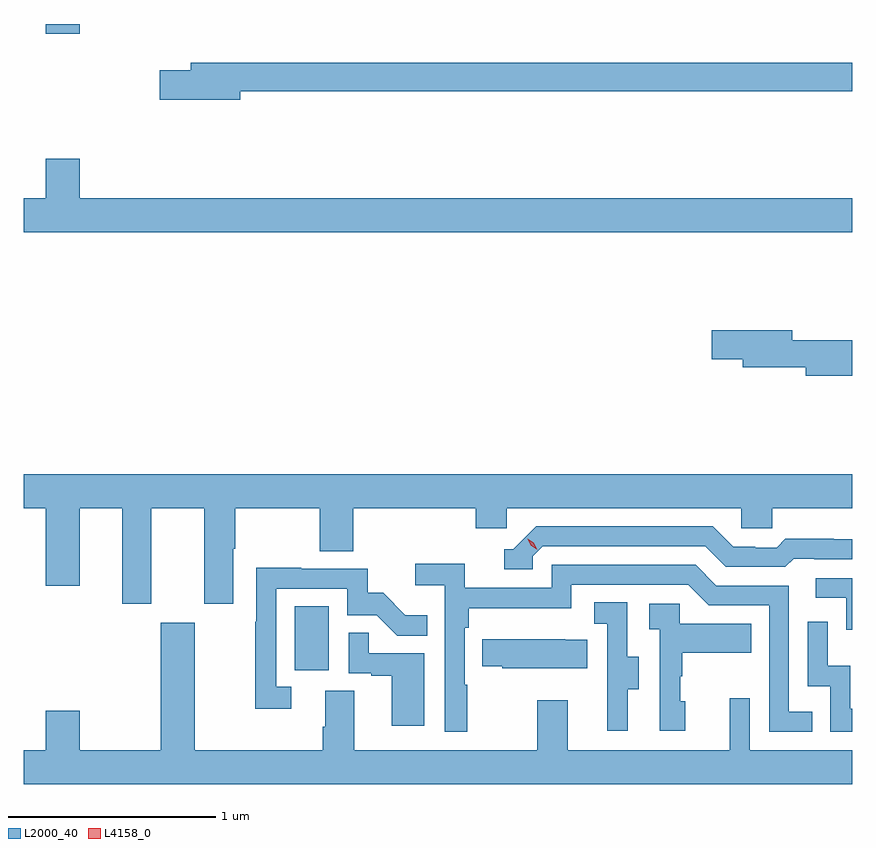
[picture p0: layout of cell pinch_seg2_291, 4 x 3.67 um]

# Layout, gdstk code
import gdstk
lib = gdstk.Library(unit=1e-6, precision=1e-09)
def R(c, l, rs):  # rectangles x0, y0, x1, y1
    for r in rs: c.add(gdstk.rectangle(r[:2], r[2:], *l))
def P(c, l, *ps):  # polygons
    for p in ps: c.add(gdstk.Polygon(p, *l))
L2000_40 = (2000, 40)
L4158_0 = (4158, 0)

pinch_seg2_291 = lib.new_cell('pinch_seg2_291')
R(pinch_seg2_291, L2000_40, [(921.452,636.198,921.616,636.505), (920.252,639.27,920.416,639.316)])
P(pinch_seg2_291, L2000_40, [(921.19,638.992),(924.144,638.992),(924.144,639.128),(920.951,639.128),(920.951,639.092),(920.802,639.092),(920.802,638.95),(921.19,638.95)],
  [(924.144,638.476),(920.416,638.476),(920.416,638.665),(920.252,638.665),(920.252,638.476),(920.144,638.476),(920.144,638.312),(924.144,638.312)],
  [(924.144,637.79),(923.854,637.79),(923.854,637.839),(923.466,637.839),(923.466,637.697),(923.615,637.697),(923.615,637.66),(923.918,637.66),(923.918,637.618),(924.144,637.618)],
  [(920.761,636.98),(921.017,636.98),(921.017,636.519),(921.157,636.519),(921.157,636.784),(921.165,636.784),(921.165,636.98),(921.574,636.98),(921.574,636.772),(921.734,636.772),(921.734,636.98),(922.325,636.98),(922.325,636.882),(922.476,636.882),(922.476,636.98),(923.607,636.98),(923.607,636.882),(923.757,636.882),(923.757,636.98),(924.144,636.98),(924.144,637.144),(920.144,637.144),(920.144,636.98),(920.252,636.98),(920.252,636.606),(920.416,636.606),(920.416,636.98),(920.621,636.98),(920.621,636.519),(920.761,636.519)],
  [(922.602,636.747),(922.65,636.795),(923.433,636.795),(923.532,636.696),(923.821,636.696),(923.86,636.735),(923.959,636.735),(923.959,636.732),(924.144,636.732),(924.144,636.829),(924.054,636.829),(924.054,636.832),(923.821,636.832),(923.779,636.789),(923.676,636.789),(923.676,636.792),(923.569,636.792),(923.47,636.891),(922.617,636.891),(922.506,636.78),(922.463,636.78),(922.463,636.684),(922.602,636.684)],
  [(922.285,636.128),(922.272,636.128),(922.272,636.401),(922.292,636.401),(922.292,636.497),(922.788,636.497),(922.788,636.609),(923.352,636.609),(923.451,636.51),(923.742,636.51),(923.742,635.901),(923.951,635.901),(923.951,635.997),(923.838,635.997),(923.838,636.606),(923.488,636.606),(923.389,636.705),(922.692,636.705),(922.692,636.594),(922.274,636.594),(922.274,636.71),(922.035,636.71),(922.035,636.608),(922.176,636.608),(922.176,635.901),(922.285,635.901)],
  [(921.436,636.117),(921.363,636.117),(921.363,636.591),(921.705,636.591),(921.705,636.462),(921.849,636.462),(921.947,636.364),(922.091,636.364),(922.091,636.463),(921.987,636.463),(921.88,636.57),(921.804,636.57),(921.804,636.687),(921.485,636.687),(921.485,636.692),(921.267,636.692),(921.267,636.431),(921.262,636.431),(921.262,636.012),(921.436,636.012)],
  [(924.144,636.642),(923.967,636.642),(923.967,636.546),(924.114,636.546),(924.114,636.393),(924.144,636.393)],
  [(923.059,636.106),(923.113,636.106),(923.113,636.261),(923.058,636.261),(923.058,636.524),(922.899,636.524),(922.899,636.421),(922.962,636.421),(922.962,636.117),(922.961,636.117),(922.961,635.904),(923.059,635.904)],
  [(923.338,636.048),(923.313,636.048),(923.313,636.167),(923.323,636.167),(923.323,636.281),(923.657,636.281),(923.657,636.421),(923.31,636.421),(923.31,636.519),(923.163,636.519),(923.163,636.395),(923.214,636.395),(923.214,635.904),(923.338,635.904)],
  [(924.144,636.01),(924.134,636.01),(924.134,636.218),(924.024,636.218),(924.024,636.43),(923.928,636.43),(923.928,636.12),(924.036,636.12),(924.036,635.901),(924.144,635.901)],
  [(924.144,635.812),(923.649,635.812),(923.649,636.061),(923.552,636.061),(923.552,635.812),(922.771,635.812),(922.771,636.052),(922.624,636.052),(922.624,635.812),(921.739,635.812),(921.739,636.098),(921.599,636.098),(921.599,635.924),(921.587,635.924),(921.587,635.812),(920.971,635.812),(920.971,636.427),(920.807,636.427),(920.807,635.812),(920.416,635.812),(920.416,636.001),(920.252,636.001),(920.252,635.812),(920.144,635.812),(920.144,635.648),(924.144,635.648)],
  [(922.078,636.279),(921.809,636.279),(921.809,636.377),(921.714,636.377),(921.714,636.183),(921.821,636.183),(921.821,636.171),(921.92,636.171),(921.92,635.928),(922.078,635.928)],
  [(922.865,636.343),(922.757,636.343),(922.757,636.346),(922.357,636.346),(922.357,636.217),(922.455,636.217),(922.455,636.206),(922.865,636.206)])
P(pinch_seg2_291, L4158_0, [(922.623,636.779),(922.593,636.798),(922.576,636.83),(922.576,636.831),(922.576,636.831),(922.607,636.812),(922.624,636.779),(922.624,636.779)])

lib.write_gds('pinch_seg2_291.gds')
